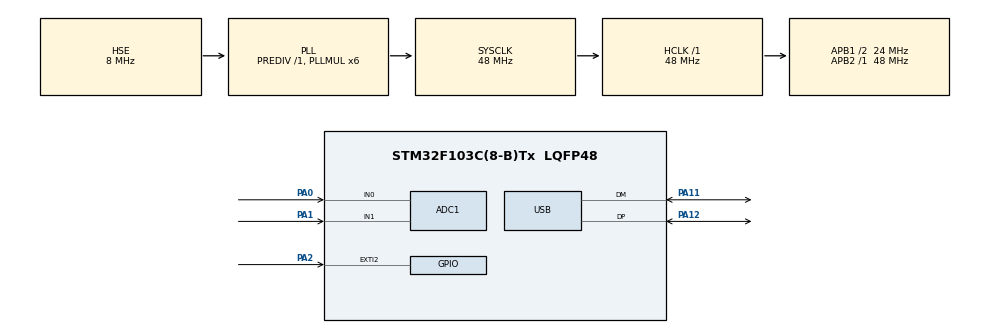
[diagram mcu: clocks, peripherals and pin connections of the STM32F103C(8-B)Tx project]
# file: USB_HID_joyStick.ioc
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ADC1.Channel-0\#ChannelRegularConversion=ADC_CHANNEL_0
ADC1.Channel-1\#ChannelRegularConversion=ADC_CHANNEL_1
ADC1.ContinuousConvMode=ENABLE
ADC1.NbrOfConversion=2
ADC1.NbrOfConversionFlag=1
ADC1.Rank-0\#ChannelRegularConversion=1
ADC1.Rank-1\#ChannelRegularConversion=2
ADC1.SamplingTime-0\#ChannelRegularConversion=ADC_SAMPLETIME_71CYCLES_5
ADC1.SamplingTime-1\#ChannelRegularConversion=ADC_SAMPLETIME_71CYCLES_5
ADC1.master=1
Dma.ADC1.0.Direction=DMA_PERIPH_TO_MEMORY
Dma.ADC1.0.Instance=DMA1_Channel1
Dma.ADC1.0.MemDataAlignment=DMA_MDATAALIGN_HALFWORD
Dma.ADC1.0.MemInc=DMA_MINC_ENABLE
Dma.ADC1.0.Mode=DMA_CIRCULAR
Dma.ADC1.0.PeriphDataAlignment=DMA_PDATAALIGN_HALFWORD
Dma.ADC1.0.PeriphInc=DMA_PINC_DISABLE
Dma.ADC1.0.Priority=DMA_PRIORITY_LOW
Dma.Request0=ADC1
Mcu.Family=STM32F1
Mcu.Name=STM32F103C(8-B)Tx
Mcu.Package=LQFP48
NVIC.DMA1_Channel1_IRQn=true\:0\:0\:false\:false\:true\:false\:true\:true
NVIC.EXTI2_IRQn=true\:0\:0\:false\:false\:true\:true\:true\:true
NVIC.PriorityGroup=NVIC_PRIORITYGROUP_4
NVIC.USB_LP_CAN1_RX0_IRQn=true\:0\:0\:false\:false\:true\:false\:true\:true
PA0-WKUP.Signal=ADCx_IN0
PA1.Signal=ADCx_IN1
PA11.Mode=Device
PA11.Signal=USB_DM
PA12.Mode=Device
PA12.Signal=USB_DP
PA13.Mode=Serial_Wire
PA13.Signal=SYS_JTMS-SWDIO
PA14.Mode=Serial_Wire
PA14.Signal=SYS_JTCK-SWCLK
PA2.GPIO_ModeDefaultEXTI=GPIO_MODE_IT_FALLING
PA2.GPIO_PuPd=GPIO_PULLUP
PA2.Signal=GPXTI2
PD0-OSC_IN.Mode=HSE-External-Oscillator
PD0-OSC_IN.Signal=RCC_OSC_IN
PD1-OSC_OUT.Mode=HSE-External-Oscillator
PD1-OSC_OUT.Signal=RCC_OSC_OUT
ProjectManager.HeapSize=0x200
ProjectManager.StackSize=0x400
ProjectManager.TargetToolchain=MDK-ARM V5.32
RCC.ADCPresc=RCC_ADCPCLK2_DIV4
RCC.AHBFreq_Value=48000000
RCC.APB1CLKDivider=RCC_HCLK_DIV2
RCC.APB1Freq_Value=24000000
RCC.APB1TimFreq_Value=48000000
RCC.APB2Freq_Value=48000000
RCC.APB2TimFreq_Value=48000000
RCC.HCLKFreq_Value=48000000
RCC.PLLMUL=RCC_PLL_MUL6
RCC.PLLSourceVirtual=RCC_PLLSOURCE_HSE
RCC.SYSCLKFreq_VALUE=48000000
RCC.SYSCLKSource=RCC_SYSCLKSOURCE_PLLCLK
RCC.USBFreq_Value=48000000
SH.ADCx_IN0.0=ADC1_IN0,IN0
SH.ADCx_IN1.0=ADC1_IN1,IN1
USB_DEVICE.CLASS_NAME_FS=HID
USB_DEVICE.PRODUCT_STRING_HID_FS=my mouse
USB_DEVICE.VirtualMode=Hid
USB_DEVICE.VirtualModeFS=Hid_FS
VP_USB_DEVICE_VS_USB_DEVICE_HID_FS.Mode=HID_FS
board=custom

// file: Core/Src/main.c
/* USER CODE BEGIN Header */
/**
  ******************************************************************************
  * @file           : main.c
  * @brief          : Main program body
  ******************************************************************************
  * @attention
  *
  * Copyright (c) 2025 STMicroelectronics.
  * All rights reserved.
  *
  * This software is licensed under terms that can be found in the LICENSE file
  * in the root directory of this software component.
  * If no LICENSE file comes with this software, it is provided AS-IS.
  *
  ******************************************************************************
  */
/* USER CODE END Header */
#include "main.h"
#include "usb_device.h"

/* USER CODE BEGIN Includes */
#include "usbd_hid.h"
/* USER CODE END Includes */

/* USER CODE BEGIN PD */
#define MID_POINT 1960
/* USER CODE END PD */

ADC_HandleTypeDef hadc1;
DMA_HandleTypeDef hdma_adc1;
typedef struct
{
	uint8_t button;
	int8_t mouse_x;
	int8_t mouse_y;
	int8_t wheel;

}mouseHID;

mouseHID myMouse = {0,0,0,0};

/* USER CODE BEGIN PV */
uint16_t adc_val[2];
extern USBD_HandleTypeDef hUsbDeviceFS;
/* USER CODE END PV */

void SystemClock_Config(void);
static void MX_GPIO_Init(void);
static void MX_DMA_Init(void);
static void MX_ADC1_Init(void);

/* USER CODE BEGIN 0 */
uint8_t btn_flag = 0;
void HAL_GPIO_EXTI_Callback(uint16_t GPIO_Pin)
{
		if(GPIO_Pin == GPIO_PIN_2)
		{
			btn_flag = 1;
		}
}
/* USER CODE END 0 */

int main(void)
{

  /* MCU Configuration--------------------------------------------------------*/

  /* Reset of all peripherals, Initializes the Flash interface and the Systick. */
  HAL_Init();

  /* Configure the system clock */
  SystemClock_Config();

  /* Initialize all configured peripherals */
  MX_GPIO_Init();
  MX_DMA_Init();
  MX_ADC1_Init();
  MX_USB_DEVICE_Init();
  /* USER CODE BEGIN 2 */
	HAL_ADC_Start_DMA( &hadc1, (uint32_t*)adc_val, 2);
  /* USER CODE END 2 */

  /* Infinite loop */
  /* USER CODE BEGIN WHILE */
  while (1)
  {
		if((adc_val[0]- MID_POINT)>20 || (adc_val[0] - MID_POINT)<-20)
		{
			myMouse.mouse_x = (adc_val[0] - MID_POINT)/ 400;
		}else myMouse.mouse_x =0 ;

		if((adc_val[1]- MID_POINT)>20 || (adc_val[1] - MID_POINT)<-20)
		{
			myMouse.mouse_y = (adc_val[1] - MID_POINT)/ 400;
		}else myMouse.mouse_y =0 ;

		if(btn_flag==1)
		{
			myMouse.button = 1;
			USBD_HID_SendReport(&hUsbDeviceFS, (uint8_t*)&myMouse, sizeof(myMouse));
			HAL_Delay(50);
			myMouse.button = 0;
			USBD_HID_SendReport(&hUsbDeviceFS, (uint8_t*)&myMouse, sizeof(myMouse));
			btn_flag = 0;
		}

	  USBD_HID_SendReport(&hUsbDeviceFS, (uint8_t*)&myMouse, sizeof(myMouse));
		HAL_Delay(20);
    /* USER CODE END WHILE */

  }
}

void SystemClock_Config(void)
{
  RCC_OscInitTypeDef RCC_OscInitStruct = {0};
  RCC_ClkInitTypeDef RCC_ClkInitStruct = {0};
  RCC_PeriphCLKInitTypeDef PeriphClkInit = {0};

  /** Initializes the RCC Oscillators according to the specified parameters
  * in the RCC_OscInitTypeDef structure.
  */
  RCC_OscInitStruct.OscillatorType = RCC_OSCILLATORTYPE_HSE;
  RCC_OscInitStruct.HSEState = RCC_HSE_ON;
  RCC_OscInitStruct.HSEPredivValue = RCC_HSE_PREDIV_DIV1;
  RCC_OscInitStruct.HSIState = RCC_HSI_ON;
  RCC_OscInitStruct.PLL.PLLState = RCC_PLL_ON;
  RCC_OscInitStruct.PLL.PLLSource = RCC_PLLSOURCE_HSE;
  RCC_OscInitStruct.PLL.PLLMUL = RCC_PLL_MUL6;
  if (HAL_RCC_OscConfig(&RCC_OscInitStruct) != HAL_OK)
  {
    Error_Handler();
  }

  /** Initializes the CPU, AHB and APB buses clocks
  */
  RCC_ClkInitStruct.ClockType = RCC_CLOCKTYPE_HCLK|RCC_CLOCKTYPE_SYSCLK
                              |RCC_CLOCKTYPE_PCLK1|RCC_CLOCKTYPE_PCLK2;
  RCC_ClkInitStruct.SYSCLKSource = RCC_SYSCLKSOURCE_PLLCLK;
  RCC_ClkInitStruct.AHBCLKDivider = RCC_SYSCLK_DIV1;
  RCC_ClkInitStruct.APB1CLKDivider = RCC_HCLK_DIV2;
  RCC_ClkInitStruct.APB2CLKDivider = RCC_HCLK_DIV1;

  if (HAL_RCC_ClockConfig(&RCC_ClkInitStruct, FLASH_LATENCY_1) != HAL_OK)
  {
    Error_Handler();
  }
  PeriphClkInit.PeriphClockSelection = RCC_PERIPHCLK_ADC|RCC_PERIPHCLK_USB;
  PeriphClkInit.AdcClockSelection = RCC_ADCPCLK2_DIV4;
  PeriphClkInit.UsbClockSelection = RCC_USBCLKSOURCE_PLL;
  if (HAL_RCCEx_PeriphCLKConfig(&PeriphClkInit) != HAL_OK)
  {
    Error_Handler();
  }
}

static void MX_ADC1_Init(void)
{

  ADC_ChannelConfTypeDef sConfig = {0};

  /** Common config
  */
  hadc1.Instance = ADC1;
  hadc1.Init.ScanConvMode = ADC_SCAN_ENABLE;
  hadc1.Init.ContinuousConvMode = ENABLE;
  hadc1.Init.DiscontinuousConvMode = DISABLE;
  hadc1.Init.ExternalTrigConv = ADC_SOFTWARE_START;
  hadc1.Init.DataAlign = ADC_DATAALIGN_RIGHT;
  hadc1.Init.NbrOfConversion = 2;
  if (HAL_ADC_Init(&hadc1) != HAL_OK)
  {
    Error_Handler();
  }

  /** Configure Regular Channel
  */
  sConfig.Channel = ADC_CHANNEL_0;
  sConfig.Rank = ADC_REGULAR_RANK_1;
  sConfig.SamplingTime = ADC_SAMPLETIME_71CYCLES_5;
  if (HAL_ADC_ConfigChannel(&hadc1, &sConfig) != HAL_OK)
  {
    Error_Handler();
  }

  /** Configure Regular Channel
  */
  sConfig.Channel = ADC_CHANNEL_1;
  sConfig.Rank = ADC_REGULAR_RANK_2;
  if (HAL_ADC_ConfigChannel(&hadc1, &sConfig) != HAL_OK)
  {
    Error_Handler();
  }

}

static void MX_DMA_Init(void)
{

  /* DMA controller clock enable */
  __HAL_RCC_DMA1_CLK_ENABLE();

  /* DMA interrupt init */
  /* DMA1_Channel1_IRQn interrupt configuration */
  HAL_NVIC_SetPriority(DMA1_Channel1_IRQn, 0, 0);
  HAL_NVIC_EnableIRQ(DMA1_Channel1_IRQn);

}

static void MX_GPIO_Init(void)
{
  GPIO_InitTypeDef GPIO_InitStruct = {0};

  /* GPIO Ports Clock Enable */
  __HAL_RCC_GPIOD_CLK_ENABLE();
  __HAL_RCC_GPIOA_CLK_ENABLE();

  /*Configure GPIO pin : PA2 */
  GPIO_InitStruct.Pin = GPIO_PIN_2;
  GPIO_InitStruct.Mode = GPIO_MODE_IT_FALLING;
  GPIO_InitStruct.Pull = GPIO_PULLUP;
  HAL_GPIO_Init(GPIOA, &GPIO_InitStruct);

  /* EXTI interrupt init*/
  HAL_NVIC_SetPriority(EXTI2_IRQn, 0, 0);
  HAL_NVIC_EnableIRQ(EXTI2_IRQn);

}

void Error_Handler(void)
{
  __disable_irq();
  while (1)
  {
  }
}
